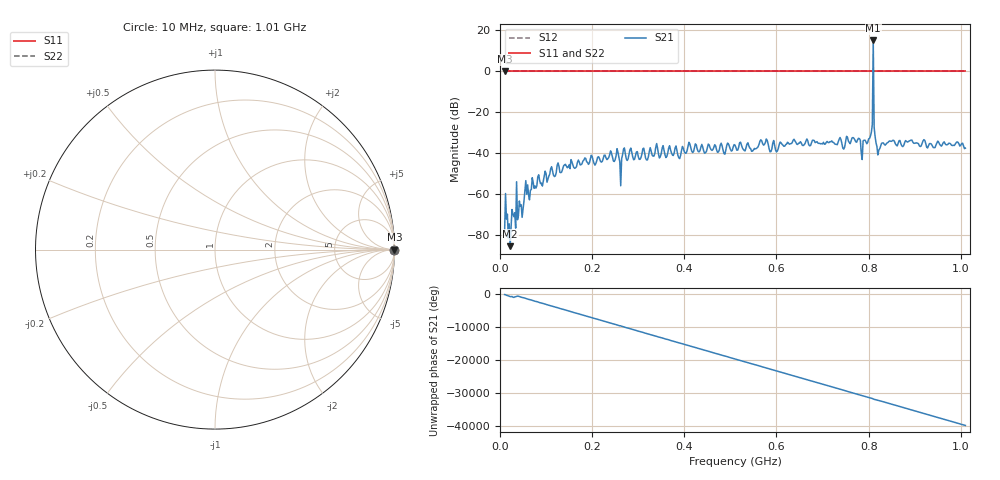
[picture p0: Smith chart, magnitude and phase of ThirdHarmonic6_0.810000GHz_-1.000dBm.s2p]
! 8/16/2025 2:58:44 AM
! C:\ANRITSUVNA\TEMP\TEMP.S2P
! CHANNEL.1
! TR.MEASUREMENT
! RAW.DATA
! RF.CORRECTION.OFF
! AVERAGING.OFF
! IF.BANDWIDTH: 5KHZ
! SWEEPTYPE:  FREQ.SWEEP(Linear)
! Reference Plane Port Info
! PORT:  PORT1  PORT2
! DISTANCE:  0  m  0  m
! TIME:  0  s  0  s
! PHASE.OFFSET:  0  deg.  0  deg.
! LOSS:  0  dB  0  dB
! REF.LOSS:  0  dB  0  dB
! REF.FREQ:  0  Hz  0  Hz
! Power Info
! POWER:  -20  dBm  -20  dBm
! EFF.POWER:  -20  dBm  -20  dBm
! SOURCE.ATTEN:  0  dB  0  dB
! TEST.ATTEN:  0  dB  0  dB
# GHZ S RI R 50.0
! FREQ.GHZ  S11RE  S11IM  S21RE  S21IM  S12RE  S12IM  S22RE  S22IM
!; PortSelection: Port_12
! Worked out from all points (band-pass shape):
!   501 points, 10 MHz to 1.01 GHz, reference 50 ohm
!   highest |S21| = 14.97 dB at 810 MHz (marker M1); lowest = -85.2 dB at 22 MHz (marker M2)
!   |S21| within 3 dB of the highest: 809.8535 MHz to 810.1415 MHz (288.1 kHz wide, 0.0356 % of centre)
!   lowest |S11| = 0.0 dB at 10 MHz (marker M3)
!   |S11| at or under -10 dB: nowhere
!   |S22| runs from 0.0 to 0.0 dB; largest |S21 - S12| = 6.4
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0.01  1 0  -0.000109 -6.19e-05  1 0  1 0
0.016  1 0  0.000126 -0.000306  1 0  1 0
0.022  1 0  3.64e-05 -4.09e-05  1 0  1 0
0.04  1 0  0.000121 0.000279  1 0  1 0
0.048  1 0  9.79e-05 0.000258  1 0  1 0
0.058  1 0  0.000961 -0.000293  1 0  1 0
0.11  1 0  0.00205 0.0037  1 0  1 0
0.178  1 0  -0.00556 -6.54e-05  1 0  1 0
0.344  1 0  0.0043 -0.00845  1 0  1 0
0.51  1 0  -0.0047 0.0151  1 0  1 0
0.678  1 0  -0.0205 -0.00277  1 0  1 0
0.746  1 0  0.00923 -0.00865  1 0  1 0
0.766  1 0  -0.0152 -0.0189  1 0  1 0
0.788  1 0  0.00964 0.0176  1 0  1 0
0.804  1 0  -0.0246 0.0102  1 0  1 0
0.806  1 0  0.00592 0.0323  1 0  1 0
0.81  1 0  -4.23 -3.675  1 0  1 0
0.814  1 0  0.0238 0.0105  1 0  1 0
0.816  1 0  0.0122 -0.0132  1 0  1 0
0.822  1 0  -0.00398 0.0112  1 0  1 0
0.844  1 0  0.0146 -0.0129  1 0  1 0
1.01  1 0  -0.003 0.013  1 0  1 0
